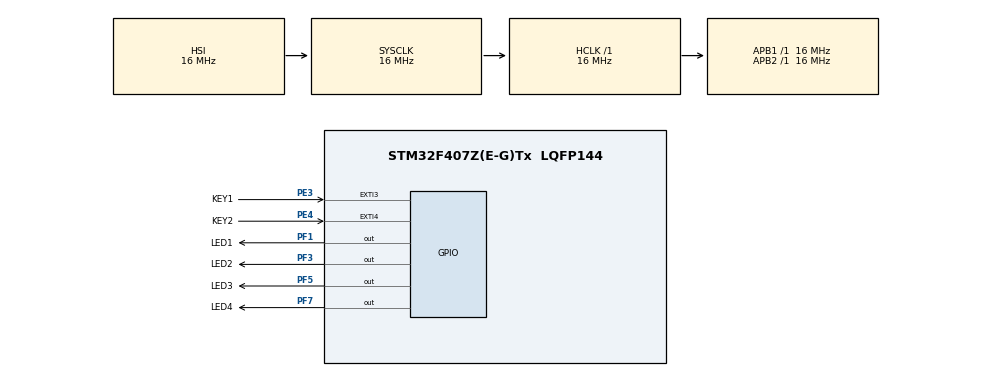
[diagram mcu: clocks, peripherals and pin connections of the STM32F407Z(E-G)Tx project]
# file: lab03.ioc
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Mcu.Family=STM32F4
Mcu.Name=STM32F407Z(E-G)Tx
Mcu.Package=LQFP144
NVIC.EXTI3_IRQn=true\:0\:0\:false\:false\:true\:true\:true
NVIC.EXTI4_IRQn=true\:0\:0\:false\:false\:true\:true\:true
NVIC.PriorityGroup=NVIC_PRIORITYGROUP_4
PE3.GPIO_Label=KEY1
PE3.GPIO_ModeDefaultEXTI=GPIO_MODE_IT_FALLING
PE3.GPIO_PuPd=GPIO_PULLUP
PE3.Signal=GPXTI3
PE4.GPIO_Label=KEY2
PE4.GPIO_ModeDefaultEXTI=GPIO_MODE_IT_FALLING
PE4.GPIO_PuPd=GPIO_PULLUP
PE4.Signal=GPXTI4
PF1.GPIO_Label=LED1
PF1.Signal=GPIO_Output
PF3.GPIO_Label=LED2
PF3.Signal=GPIO_Output
PF5.GPIO_Label=LED3
PF5.Signal=GPIO_Output
PF7.GPIO_Label=LED4
PF7.Signal=GPIO_Output
ProjectManager.HeapSize=0x200
ProjectManager.StackSize=0x400
ProjectManager.TargetToolchain=STM32CubeIDE
RCC.AHBFreq_Value=16000000
RCC.APB1Freq_Value=16000000
RCC.APB2Freq_Value=16000000
RCC.CortexFreq_Value=16000000
RCC.HSE_VALUE=25000000
RCC.HSI_VALUE=16000000
RCC.LSE_VALUE=32768
RCC.SYSCLKFreq_VALUE=16000000
RCC.VCOOutputFreq_Value=192000000
board=custom

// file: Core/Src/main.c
/* USER CODE BEGIN Header */
/**
  ******************************************************************************
  * @file           : main.c
  * @brief          : Main program body
  ******************************************************************************
  * @attention
  *
  * <h2><center>&copy; Copyright (c) 2022 STMicroelectronics.
  * All rights reserved.</center></h2>
  *
  * This software component is licensed by ST under BSD 3-Clause license,
  * the "License"; You may not use this file except in compliance with the
  * License. You may obtain a copy of the License at:
  *                        opensource.org/licenses/BSD-3-Clause
  *
  ******************************************************************************
  */
/* USER CODE END Header */
#include "main.h"

/* USER CODE BEGIN PTD */
typedef struct {
	GPIO_TypeDef* port;
	uint16_t pin;
}LED_GPIO_t;
/* USER CODE END PTD */

/* USER CODE BEGIN PV */
enum LED {
	LED1,
	LED2,
	LED3,
	LED4,
	LED_COUNT
} LED_t;

LED_GPIO_t leds[] = {
	[LED1]	= {LED1_GPIO_Port, LED1_Pin},
	[LED2]	= {LED2_GPIO_Port, LED2_Pin},
	[LED3]	= {LED3_GPIO_Port, LED3_Pin},
	[LED4]	= {LED4_GPIO_Port, LED4_Pin},
};

uint8_t led_state[] = {0, 0, 0, 0};
uint8_t curr_led_ptr = 0;
/* USER CODE END PV */

void SystemClock_Config(void);
static void MX_GPIO_Init(void);

int main(void)
{

  /* MCU Configuration--------------------------------------------------------*/

  /* Reset of all peripherals, Initializes the Flash interface and the Systick. */
  HAL_Init();

  /* Configure the system clock */
  SystemClock_Config();

  /* Initialize all configured peripherals */
  MX_GPIO_Init();

  /* Infinite loop */
  /* USER CODE BEGIN WHILE */
  while (1)
  {
	  for (size_t led_pos = 0; led_pos < LED_COUNT; led_pos++) {
		  HAL_GPIO_WritePin(leds[led_pos].port, leds[led_pos].pin, led_state[led_pos]);
  	  }
    /* USER CODE END WHILE */

  }
}

void SystemClock_Config(void)
{
  RCC_OscInitTypeDef RCC_OscInitStruct = {0};
  RCC_ClkInitTypeDef RCC_ClkInitStruct = {0};

  /** Configure the main internal regulator output voltage
  */
  __HAL_RCC_PWR_CLK_ENABLE();
  __HAL_PWR_VOLTAGESCALING_CONFIG(PWR_REGULATOR_VOLTAGE_SCALE1);
  /** Initializes the RCC Oscillators according to the specified parameters
  * in the RCC_OscInitTypeDef structure.
  */
  RCC_OscInitStruct.OscillatorType = RCC_OSCILLATORTYPE_HSI;
  RCC_OscInitStruct.HSIState = RCC_HSI_ON;
  RCC_OscInitStruct.HSICalibrationValue = RCC_HSICALIBRATION_DEFAULT;
  RCC_OscInitStruct.PLL.PLLState = RCC_PLL_NONE;
  if (HAL_RCC_OscConfig(&RCC_OscInitStruct) != HAL_OK)
  {
    Error_Handler();
  }
  /** Initializes the CPU, AHB and APB buses clocks
  */
  RCC_ClkInitStruct.ClockType = RCC_CLOCKTYPE_HCLK|RCC_CLOCKTYPE_SYSCLK
                              |RCC_CLOCKTYPE_PCLK1|RCC_CLOCKTYPE_PCLK2;
  RCC_ClkInitStruct.SYSCLKSource = RCC_SYSCLKSOURCE_HSI;
  RCC_ClkInitStruct.AHBCLKDivider = RCC_SYSCLK_DIV1;
  RCC_ClkInitStruct.APB1CLKDivider = RCC_HCLK_DIV1;
  RCC_ClkInitStruct.APB2CLKDivider = RCC_HCLK_DIV1;

  if (HAL_RCC_ClockConfig(&RCC_ClkInitStruct, FLASH_LATENCY_0) != HAL_OK)
  {
    Error_Handler();
  }
}

static void MX_GPIO_Init(void)
{
  GPIO_InitTypeDef GPIO_InitStruct = {0};

  /* GPIO Ports Clock Enable */
  __HAL_RCC_GPIOE_CLK_ENABLE();
  __HAL_RCC_GPIOF_CLK_ENABLE();

  /*Configure GPIO pin Output Level */
  HAL_GPIO_WritePin(GPIOF, LED1_Pin|LED2_Pin|LED3_Pin|LED4_Pin, GPIO_PIN_RESET);

  /*Configure GPIO pins : KEY1_Pin KEY2_Pin */
  GPIO_InitStruct.Pin = KEY1_Pin|KEY2_Pin;
  GPIO_InitStruct.Mode = GPIO_MODE_IT_FALLING;
  GPIO_InitStruct.Pull = GPIO_PULLUP;
  HAL_GPIO_Init(GPIOE, &GPIO_InitStruct);

  /*Configure GPIO pins : LED1_Pin LED2_Pin LED3_Pin LED4_Pin */
  GPIO_InitStruct.Pin = LED1_Pin|LED2_Pin|LED3_Pin|LED4_Pin;
  GPIO_InitStruct.Mode = GPIO_MODE_OUTPUT_PP;
  GPIO_InitStruct.Pull = GPIO_NOPULL;
  GPIO_InitStruct.Speed = GPIO_SPEED_FREQ_LOW;
  HAL_GPIO_Init(GPIOF, &GPIO_InitStruct);

  /* EXTI interrupt init*/
  HAL_NVIC_SetPriority(EXTI3_IRQn, 0, 0);
  HAL_NVIC_EnableIRQ(EXTI3_IRQn);

  HAL_NVIC_SetPriority(EXTI4_IRQn, 0, 0);
  HAL_NVIC_EnableIRQ(EXTI4_IRQn);

}

/* USER CODE BEGIN 4 */
void HAL_GPIO_EXTI_Callback(uint16_t GPIO_Pin)
{
	//increase
	if (GPIO_Pin == KEY1_Pin) {
		if (curr_led_ptr < LED_COUNT) {
			led_state[curr_led_ptr] = 1;
			curr_led_ptr++;
		}
	}
	//decrease
	else if (GPIO_Pin == KEY2_Pin) {
		if (curr_led_ptr > 0) {
			curr_led_ptr--;
			led_state[curr_led_ptr] = 0;
		}
	}
}
/* USER CODE END 4 */

void Error_Handler(void)
{
  __disable_irq();
  while (1)
  {
  }
}

/************************ (C) COPYRIGHT STMicroelectronics *****END OF FILE****/
